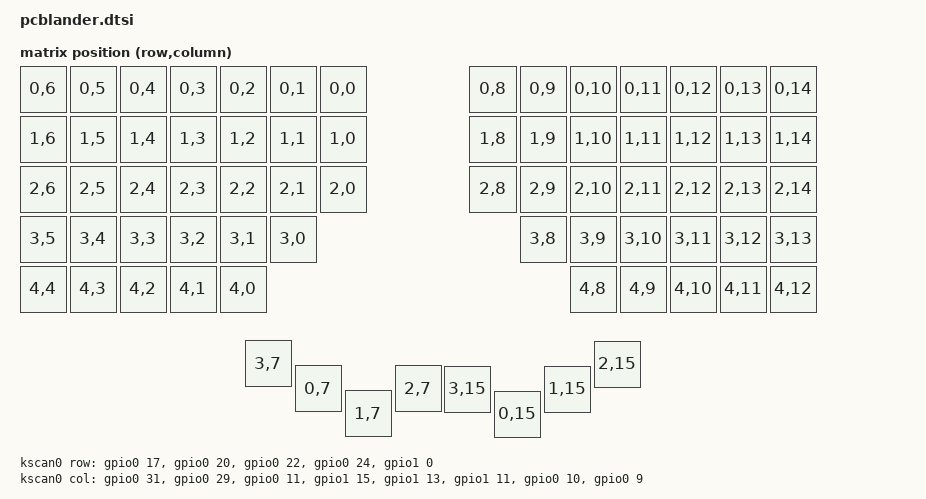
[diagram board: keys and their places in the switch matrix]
#include <dt-bindings/gpio/gpio.h>
#include <dt-bindings/zmk/matrix_transform.h>
#include <physical_layouts.dtsi>

/ {
    chosen {
        zmk,kscan = &kscan0;
        zmk,physical-layout = &default_layout;
    };

    default_layout: physical_layout_0 {
        compatible = "zmk,physical-layout";
        display-name = "Default";
        kscan = <&kscan0>;
        transform = <&default_transform>;
        keys
            = <&key_physical_attrs 100 100    0   0   0 0 0>
            , <&key_physical_attrs 100 100  100   0   0 0 0>
            , <&key_physical_attrs 100 100  200   0   0 0 0>
            , <&key_physical_attrs 100 100  300   0   0 0 0>
            , <&key_physical_attrs 100 100  400   0   0 0 0>
            , <&key_physical_attrs 100 100  500   0   0 0 0>
            , <&key_physical_attrs 100 100  600   0   0 0 0>
            , <&key_physical_attrs 100 100  900   0   0 0 0>
            , <&key_physical_attrs 100 100 1000   0   0 0 0>
            , <&key_physical_attrs 100 100 1100   0   0 0 0>
            , <&key_physical_attrs 100 100 1200   0   0 0 0>
            , <&key_physical_attrs 100 100 1300   0   0 0 0>
            , <&key_physical_attrs 100 100 1400   0   0 0 0>
            , <&key_physical_attrs 100 100 1500   0   0 0 0>
            , <&key_physical_attrs 100 100    0 100   0 0 0>
            , <&key_physical_attrs 100 100  100 100   0 0 0>
            , <&key_physical_attrs 100 100  200 100   0 0 0>
            , <&key_physical_attrs 100 100  300 100   0 0 0>
            , <&key_physical_attrs 100 100  400 100   0 0 0>
            , <&key_physical_attrs 100 100  500 100   0 0 0>
            , <&key_physical_attrs 100 100  600 100   0 0 0>
            , <&key_physical_attrs 100 100  900 100   0 0 0>
            , <&key_physical_attrs 100 100 1000 100   0 0 0>
            , <&key_physical_attrs 100 100 1100 100   0 0 0>
            , <&key_physical_attrs 100 100 1200 100   0 0 0>
            , <&key_physical_attrs 100 100 1300 100   0 0 0>
            , <&key_physical_attrs 100 100 1400 100   0 0 0>
            , <&key_physical_attrs 100 100 1500 100   0 0 0>
            , <&key_physical_attrs 100 100    0 200   0 0 0>
            , <&key_physical_attrs 100 100  100 200   0 0 0>
            , <&key_physical_attrs 100 100  200 200   0 0 0>
            , <&key_physical_attrs 100 100  300 200   0 0 0>
            , <&key_physical_attrs 100 100  400 200   0 0 0>
            , <&key_physical_attrs 100 100  500 200   0 0 0>
            , <&key_physical_attrs 100 100  600 200   0 0 0>
            , <&key_physical_attrs 100 100  900 200   0 0 0>
            , <&key_physical_attrs 100 100 1000 200   0 0 0>
            , <&key_physical_attrs 100 100 1100 200   0 0 0>
            , <&key_physical_attrs 100 100 1200 200   0 0 0>
            , <&key_physical_attrs 100 100 1300 200   0 0 0>
            , <&key_physical_attrs 100 100 1400 200   0 0 0>
            , <&key_physical_attrs 100 100 1500 200   0 0 0>
            , <&key_physical_attrs 100 100    0 300   0 0 0>
            , <&key_physical_attrs 100 100  100 300   0 0 0>
            , <&key_physical_attrs 100 100  200 300   0 0 0>
            , <&key_physical_attrs 100 100  300 300   0 0 0>
            , <&key_physical_attrs 100 100  400 300   0 0 0>
            , <&key_physical_attrs 100 100  500 300   0 0 0>
            , <&key_physical_attrs 100 100 1000 300   0 0 0>
            , <&key_physical_attrs 100 100 1100 300   0 0 0>
            , <&key_physical_attrs 100 100 1200 300   0 0 0>
            , <&key_physical_attrs 100 100 1300 300   0 0 0>
            , <&key_physical_attrs 100 100 1400 300   0 0 0>
            , <&key_physical_attrs 100 100 1500 300   0 0 0>
            , <&key_physical_attrs 100 100    0 400   0 0 0>
            , <&key_physical_attrs 100 100  100 400   0 0 0>
            , <&key_physical_attrs 100 100  200 400   0 0 0>
            , <&key_physical_attrs 100 100  300 400   0 0 0>
            , <&key_physical_attrs 100 100  400 400   0 0 0>
            , <&key_physical_attrs 100 100 1100 400   0 0 0>
            , <&key_physical_attrs 100 100 1200 400   0 0 0>
            , <&key_physical_attrs 100 100 1300 400   0 0 0>
            , <&key_physical_attrs 100 100 1400 400   0 0 0>
            , <&key_physical_attrs 100 100 1500 400   0 0 0>
            , <&key_physical_attrs 100 100  450 550 (-25) 450 550>
            , <&key_physical_attrs 100 100  550 600 (-25) 550 600>
            , <&key_physical_attrs 100 100  650 650 (-25) 650 650>
            , <&key_physical_attrs 100 100  750 600 (-25) 750 600>
            , <&key_physical_attrs 100 100  850 600  25 850 600>
            , <&key_physical_attrs 100 100  950 650  25 950 650>
            , <&key_physical_attrs 100 100 1050 600  25 1050 600>
            , <&key_physical_attrs 100 100 1150 550  25 1150 550>
            ;
    };

    default_transform: keymap_transform_0 {
        compatible = "zmk,matrix-transform";
        rows = <5>;
        columns = <16>;
        map = <
            RC(0,6) RC(0,5) RC(0,4) RC(0,3) RC(0,2) RC(0,1) RC(0,0)     RC(0,8)  RC(0,9)  RC(0,10) RC(0,11) RC(0,12) RC(0,13) RC(0,14)
            RC(1,6) RC(1,5) RC(1,4) RC(1,3) RC(1,2) RC(1,1) RC(1,0)     RC(1,8)  RC(1,9)  RC(1,10) RC(1,11) RC(1,12) RC(1,13) RC(1,14)
            RC(2,6) RC(2,5) RC(2,4) RC(2,3) RC(2,2) RC(2,1) RC(2,0)     RC(2,8)  RC(2,9)  RC(2,10) RC(2,11) RC(2,12) RC(2,13) RC(2,14)
            RC(3,5) RC(3,4) RC(3,3) RC(3,2) RC(3,1) RC(3,0)             RC(3,8)  RC(3,9)  RC(3,10) RC(3,11) RC(3,12) RC(3,13)
            RC(4,4) RC(4,3) RC(4,2) RC(4,1) RC(4,0)                    RC(4,8)  RC(4,9)  RC(4,10) RC(4,11) RC(4,12)
            RC(3,7) RC(0,7) RC(1,7) RC(2,7)                            RC(3,15) RC(0,15) RC(1,15) RC(2,15)
        >;
    };

    kscan0: kscan {
        compatible = "zmk,kscan-gpio-matrix";
        diode-direction = "col2row";
        wakeup-source;
        row-gpios
            = <&gpio0 17 (GPIO_ACTIVE_HIGH | GPIO_PULL_DOWN)>
            , <&gpio0 20 (GPIO_ACTIVE_HIGH | GPIO_PULL_DOWN)>
            , <&gpio0 22 (GPIO_ACTIVE_HIGH | GPIO_PULL_DOWN)>
            , <&gpio0 24 (GPIO_ACTIVE_HIGH | GPIO_PULL_DOWN)>
            , <&gpio1 0  (GPIO_ACTIVE_HIGH | GPIO_PULL_DOWN)>
            ;
        col-gpios
            = <&gpio0 31 GPIO_ACTIVE_HIGH>
            , <&gpio0 29 GPIO_ACTIVE_HIGH>
            , <&gpio0 11 GPIO_ACTIVE_HIGH>
            , <&gpio1 15 GPIO_ACTIVE_HIGH>
            , <&gpio1 13 GPIO_ACTIVE_HIGH>
            , <&gpio1 11 GPIO_ACTIVE_HIGH>
            , <&gpio0 10 GPIO_ACTIVE_HIGH>
            , <&gpio0 9  GPIO_ACTIVE_HIGH>
            ;
    };
};
